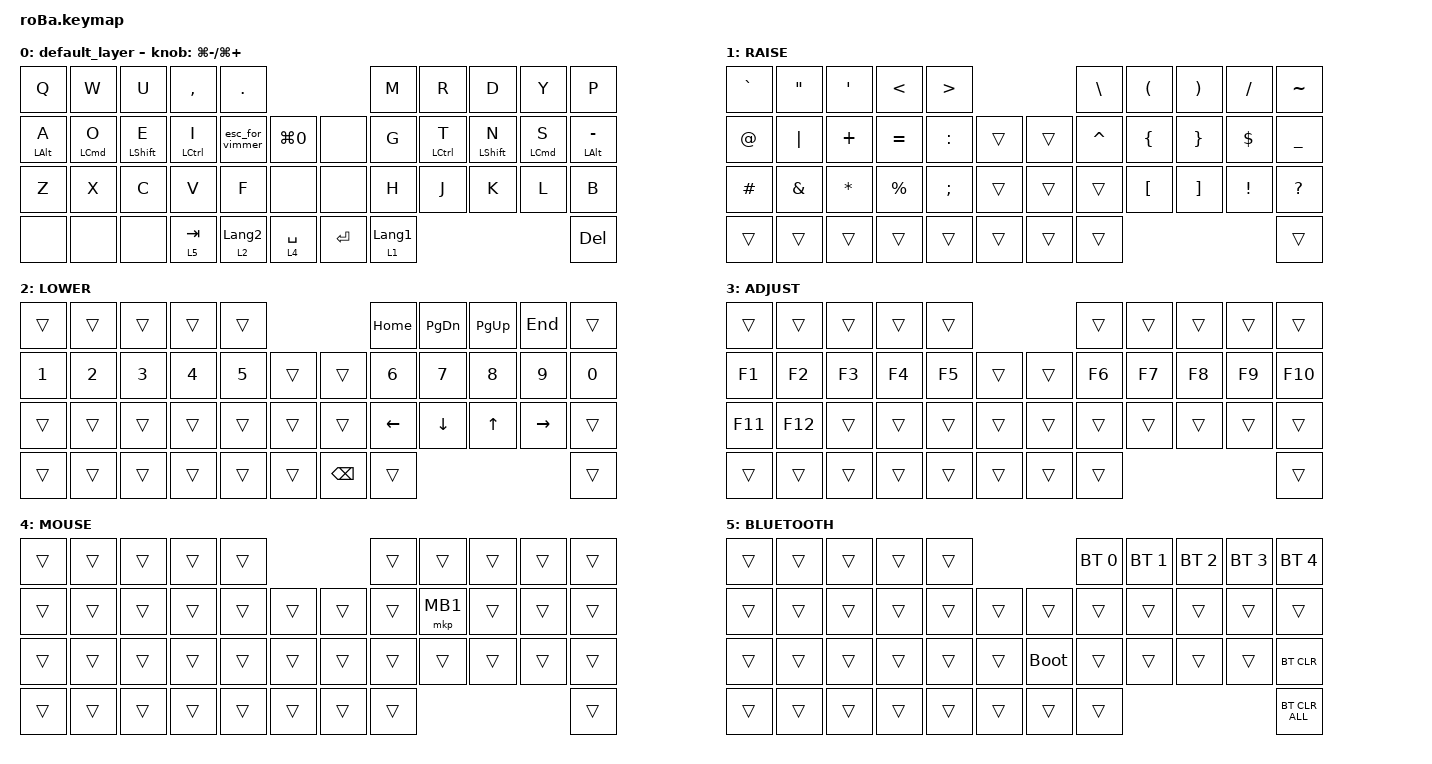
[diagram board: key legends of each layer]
#include <behaviors.dtsi>
#include <dt-bindings/zmk/bt.h>
#include <dt-bindings/zmk/keys.h>
#include <dt-bindings/zmk/pointing.h>
#include <input/processors.dtsi>


&lt {
    flavor = "hold-preferred";
    tapping-term-ms = <175>;
};

&sensors {
    triggers-per-rotation = <3>;
};

&trackball {
    scroll-layers = <5>;
};

&zip_temp_layer {
    /* キー入力でML解除 */
    /* 以下のキーを押してもMLを解除しない */
    excluded-positions = <
        10 11 12 13
        18 19
    >;
};

/* トラックボールを動かしたらMLを有効化、AML */
&trackball_listener {
    input-processors = <&zip_temp_layer 4 10000>;
};

/* マウスキーを押したらMLを有効化 */
&mkp_input_listener {
    input-processors = <&zip_temp_layer 4 300>;
};


/ {
    conditional_layers {
        compatible = "zmk,conditional-layers";
        raise_lower_to_adjust {
            if-layers = <1 2>;
            then-layer = <3>;
        };
    };

    macros {
        esc_for_vimmer: esc_for_vimmer {
            compatible = "zmk,behavior-macro";
            #binding-cells = <0>;
            bindings = <&kp ESC &kp LANGUAGE_2>;
            label = "ESC_FOR_VIMMER";
        };
    };

    behaviors {
        hml: home_row_mod_left {
            compatible = "zmk,behavior-hold-tap";
            #binding-cells = <2>;
            flavor = "balanced";
            tapping-term-ms = <175>;
            bindings = <&kp>, <&kp>;
        };
        hmr: home_row_mod_right {
            compatible = "zmk,behavior-hold-tap";
            #binding-cells = <2>;
            flavor = "balanced";
            tapping-term-ms = <175>;
            bindings = <&kp>, <&kp>;
        };
        li: layer-ime {
            compatible = "zmk,behavior-hold-tap";
            #binding-cells = <2>;
            tapping-term-ms = <999>;  /* 動作には影響しないが必須パラメータなので定義 */
            bindings = <&mo>, <&kp>;
            retro-tap;
        };
    };

    combos {
        compatible = "zmk,combos";
        combo_right_click {
            timeout-ms = <50>;
            key-positions = <18 19>;
            bindings = <&mkp MB2>;
        };
    };

    keymap {
        compatible = "zmk,keymap";

        /* ───────── Layer 0: DEFAULT ───────── */
        default_layer {
            bindings = <
&kp Q        &kp W        &kp U         &kp COMMA     &kp DOT                                      &kp M             &kp R         &kp D         &kp Y        &kp P
&hml LALT A  &hml LCMD O  &hml LSHFT E  &hml LCTRL I  &esc_for_vimmer   &kp LG(N0)      &none      &kp G             &hmr LCTRL T  &hmr LSHFT N  &hmr LCMD S  &hmr LALT MINUS
&kp Z        &kp X        &kp C         &kp V         &kp F             &none           &none      &kp H             &kp J         &kp K         &kp L        &kp B
&none        &none        &none         &lt 5 TAB     &li 2 LANGUAGE_2  &lt 4 SPACE     &kp ENTER  &li 1 LANGUAGE_1                                           &kp DEL
            >;

            sensor-bindings = <&inc_dec_kp LG(MINUS) LG(PLUS)>;
        };

        /* ───────── Layer 1: RAISE ───────── */
        RAISE {
            bindings = <
&kp GRAVE    &kp DOUBLE_QUOTES  &kp SINGLE_QUOTE  &kp LT       &kp GT                             &kp BACKSLASH  &kp LEFT_PARENTHESIS  &kp RIGHT_PARENTHESIS  &kp SLASH  &kp TILDE
&kp AT_SIGN  &kp PIPE           &kp PLUS          &kp EQUAL    &kp COLON      &trans      &trans  &kp CARET      &kp LEFT_BRACE        &kp RIGHT_BRACE        &kp DLLR   &kp UNDER
&kp HASH     &kp AMPERSAND      &kp ASTRK         &kp PERCENT  &kp SEMICOLON  &trans      &trans  &trans         &kp LEFT_BRACKET      &kp RIGHT_BRACKET      &kp EXCL   &kp QUESTION
&trans       &trans             &trans            &trans       &trans         &trans      &trans  &trans                                                                 &trans
            >;
        };

        /* ───────── Layer 2: LOWER ───────── */
        LOWER {
            bindings = <
&trans        &trans        &trans        &trans        &trans                             &kp HOME      &kp PAGE_DOWN  &kp PG_UP     &kp END    &trans
&kp N1        &kp N2        &kp N3        &kp N4        &kp N5  &trans      &trans         &kp N6        &kp N7         &kp N8        &kp N9     &kp N0
&trans        &trans        &trans        &trans        &trans  &trans      &trans         &kp LEFT      &kp DOWN       &kp UP_ARROW  &kp RIGHT  &trans
&trans        &trans        &trans        &trans        &trans  &trans      &kp BACKSPACE  &trans                                                &trans
            >;
        };

        /* ───────── Layer 3: ADJUST (Fn1–12) ───────── */
        ADJUST {
            bindings = <
&trans   &trans   &trans   &trans   &trans                        &trans   &trans   &trans    &trans    &trans
&kp F1   &kp F2   &kp F3   &kp F4   &kp F5  &trans      &trans    &kp F6   &kp F7   &kp F8    &kp F9    &kp F10
&kp F11  &kp F12  &trans   &trans   &trans  &trans      &trans    &trans   &trans   &trans    &trans    &trans
&trans   &trans   &trans   &trans   &trans  &trans      &trans    &trans                                &trans
            >;
        };

        /* ───────── Layer 4: MOUSE ───────── */
        MOUSE {
            bindings = <
&trans  &trans  &trans  &trans  &trans                      &trans  &trans    &trans    &trans    &trans
&trans  &trans  &trans  &trans  &trans  &trans      &trans  &trans  &mkp MB1  &trans    &trans    &trans
&trans  &trans  &trans  &trans  &trans  &trans      &trans  &trans  &trans    &trans    &trans    &trans
&trans  &trans  &trans  &trans  &trans  &trans      &trans  &trans                                &trans
            >;
        };

        /* ───────── Layer 5: BLUETOOTH ───────── */
        BLUETOOTH {
            bindings = <
&trans  &trans  &trans  &trans  &trans                           &bt BT_SEL 0  &bt BT_SEL 1  &bt BT_SEL 2  &bt BT_SEL 3  &bt BT_SEL 4
&trans  &trans  &trans  &trans  &trans  &trans      &trans       &trans        &trans        &trans        &trans        &trans
&trans  &trans  &trans  &trans  &trans  &trans      &bootloader  &trans        &trans        &trans        &trans        &bt BT_CLR
&trans  &trans  &trans  &trans  &trans  &trans      &trans       &trans                                                  &bt BT_CLR_ALL
            >;
        };
    };
};
